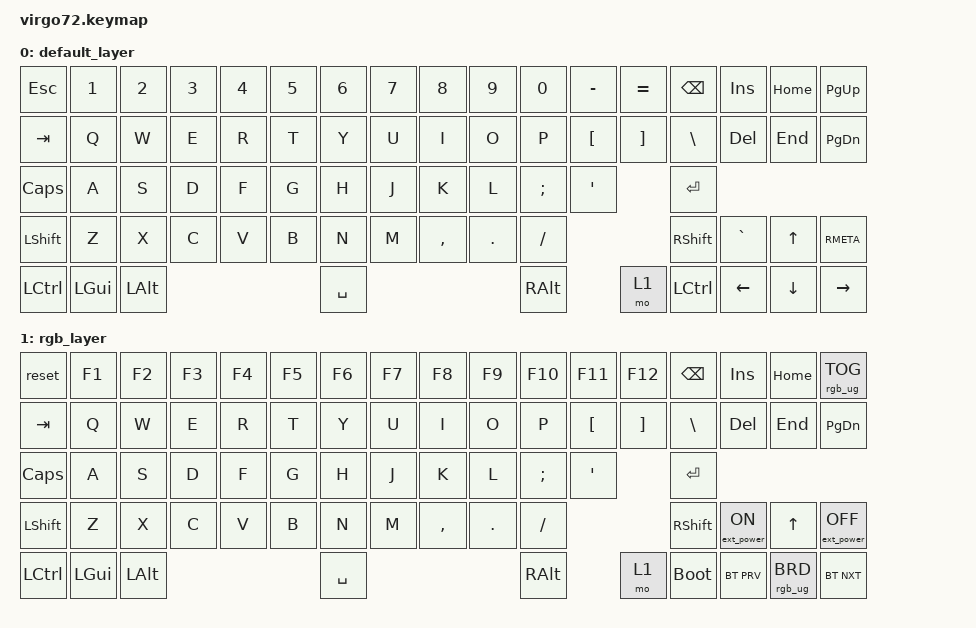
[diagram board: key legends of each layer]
/*
 * Copyright (c) 2021 Nick Winans
 *
 * SPDX-License-Identifier: MIT
 */

#include <behaviors.dtsi>
#include <dt-bindings/zmk/keys.h>
#include <dt-bindings/zmk/rgb.h>
#include <dt-bindings/zmk/bt.h>
#include <dt-bindings/zmk/outputs.h>
#include <dt-bindings/zmk/ext_power.h>

/ {
	keymap {
		compatible = "zmk,keymap";
		default_layer {
			 bindings = <
	&kp ESC   &kp N1   &kp N2   &kp N3 &kp N4 &kp N5 &kp N6    &kp N7 &kp N8    &kp N9  &kp N0    &kp MINUS &kp EQUAL &kp BSPC   &kp INSERT &kp HOME &kp PG_UP
	&kp TAB   &kp Q    &kp W    &kp E  &kp R  &kp T  &kp Y     &kp U  &kp I     &kp O   &kp P     &kp LBKT  &kp RBKT  &kp BSLH   &kp DEL    &kp END  &kp PG_DN
	&kp CLCK  &kp A    &kp S    &kp D  &kp F  &kp G  &kp H     &kp J  &kp K     &kp L   &kp SEMI  &kp SQT             &kp RET                
	&kp LSHFT &kp Z    &kp X    &kp C  &kp V  &kp B  &kp N     &kp M  &kp COMMA &kp DOT &kp FSLH                      &kp RSHFT  &kp GRAVE  &kp UP   &kp RMETA
	&kp LCTRL &kp LGUI &kp LALT                      &kp SPACE                          &kp RALT            &mo 1     &kp LCTRL  &kp LEFT   &kp DOWN &kp RIGHT
			>;
		};
		rgb_layer {
			bindings = <
	&reset    &kp F1   &kp F2   &kp F3 &kp F4 &kp F5 &kp F6    &kp F7 &kp F8    &kp F9  &kp F10   &kp F11   &kp F12   &kp BSPC   &kp INSERT &kp HOME &rgb_ug RGB_TOG
	&kp TAB   &kp Q    &kp W    &kp E  &kp R  &kp T  &kp Y     &kp U  &kp I     &kp O   &kp P     &kp LBKT  &kp RBKT  &kp BSLH   &kp DEL    &kp END  &kp PG_DN
	&kp CLCK  &kp A    &kp S    &kp D  &kp F  &kp G  &kp H     &kp J  &kp K     &kp L   &kp SEMI  &kp SQT             &kp RET                
	&kp LSHFT &kp Z    &kp X    &kp C  &kp V  &kp B  &kp N     &kp M  &kp COMMA &kp DOT &kp FSLH                      &kp RSHFT  &ext_power EP_ON  &kp UP   &ext_power EP_OFF
	&kp LCTRL &kp LGUI &kp LALT                      &kp SPACE                          &kp RALT            &mo 1     &bootloader  &bt BT_PRV &rgb_ug RGB_BRD &bt BT_NXT
			>;
		};
	};
};
